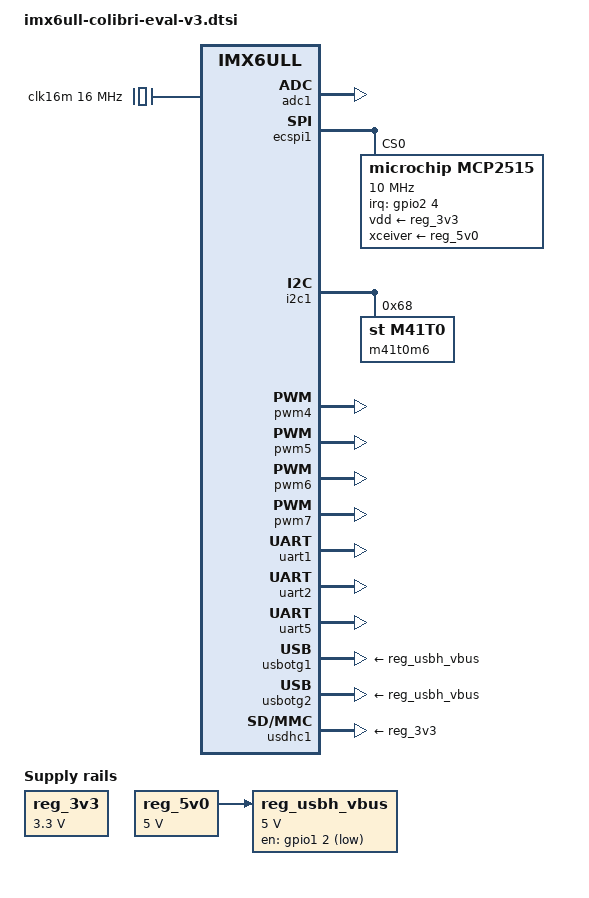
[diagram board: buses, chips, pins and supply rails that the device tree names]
// SPDX-License-Identifier: GPL-2.0-or-later OR MIT
/*
 * Copyright 2017-2022 Toradex
 */

/ {
	chosen {
		stdout-path = "serial0:115200n8";
	};

	/* fixed crystal dedicated to mcp2515 */
	clk16m: clk16m {
		compatible = "fixed-clock";
		#clock-cells = <0>;
		clock-frequency = <16000000>;
	};

	reg_3v3: regulator-3v3 {
		compatible = "regulator-fixed";
		regulator-name = "3.3V";
		regulator-min-microvolt = <3300000>;
		regulator-max-microvolt = <3300000>;
	};

	reg_5v0: regulator-5v0 {
		compatible = "regulator-fixed";
		regulator-name = "5V";
		regulator-min-microvolt = <5000000>;
		regulator-max-microvolt = <5000000>;
	};

	reg_usbh_vbus: regulator-usbh-vbus {
		compatible = "regulator-fixed";
		pinctrl-names = "default";
		pinctrl-0 = <&pinctrl_usbh_reg>;
		regulator-name = "VCC_USB[1-4]";
		regulator-min-microvolt = <5000000>;
		regulator-max-microvolt = <5000000>;
		gpio = <&gpio1 2 GPIO_ACTIVE_LOW>;
		vin-supply = <&reg_5v0>;
	};
};

&adc1 {
	status = "okay";
};

&ecspi1 {
	status = "okay";

	mcp2515: can@0 {
		compatible = "microchip,mcp2515";
		pinctrl-names = "default";
		pinctrl-0 = <&pinctrl_can_int>;
		reg = <0>;
		clocks = <&clk16m>;
		interrupt-parent = <&gpio2>;
		interrupts = <4 IRQ_TYPE_EDGE_FALLING>;
		spi-max-frequency = <10000000>;
		vdd-supply = <&reg_3v3>;
		xceiver-supply = <&reg_5v0>;
		status = "okay";
	};
};

&i2c1 {
	status = "okay";

	/* M41T0M6 real time clock on carrier board */
	m41t0m6: rtc@68 {
		compatible = "st,m41t0";
		reg = <0x68>;
	};
};

/* PWM <A> */
&pwm4 {
	status = "okay";
};

/* PWM <B> */
&pwm5 {
	status = "okay";
};

/* PWM <C> */
&pwm6 {
	status = "okay";
};

/* PWM <D> */
&pwm7 {
	status = "okay";
};

&uart1 {
	status = "okay";
};

&uart2 {
	status = "okay";
};

&uart5 {
	status = "okay";
};

&usbotg1 {
	disable-over-current;
	vbus-supply = <&reg_usbh_vbus>;
	status = "okay";
};

&usbotg2 {
	disable-over-current;
	vbus-supply = <&reg_usbh_vbus>;
	status = "okay";
};

&usdhc1 {
	vmmc-supply = <&reg_3v3>;
	status = "okay";
};
